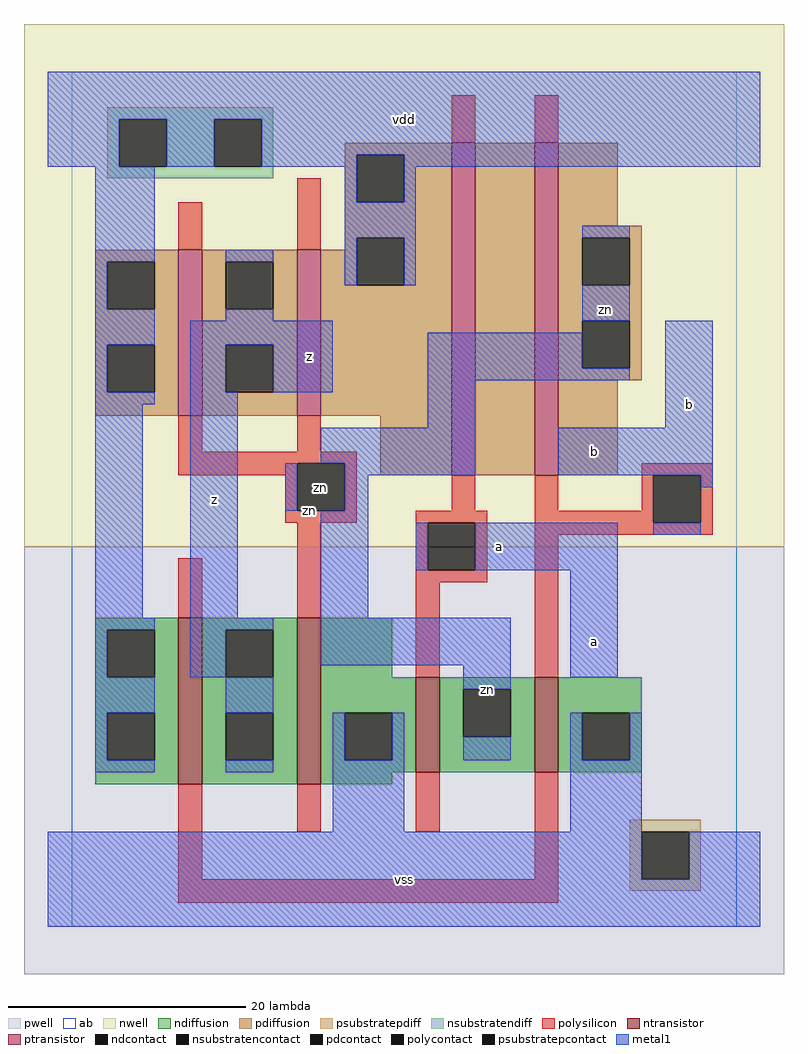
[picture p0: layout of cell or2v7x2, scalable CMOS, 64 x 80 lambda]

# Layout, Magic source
magic
tech scmos
<< ab >>
rect 0 0 56 72
<< pwell >>
rect -4 -4 60 32
<< nwell >>
rect -4 32 60 76
<< polysilicon >>
rect 32 66 34 70
rect 39 66 41 70
rect 9 57 11 61
rect 19 57 21 63
rect 9 40 11 43
rect 19 40 21 43
rect 9 39 24 40
rect 9 38 19 39
rect 18 35 19 38
rect 23 35 24 39
rect 48 38 54 39
rect 32 35 34 38
rect 39 35 41 38
rect 48 35 49 38
rect 18 34 24 35
rect 29 34 35 35
rect 9 26 11 31
rect 19 26 21 34
rect 29 30 30 34
rect 34 30 35 34
rect 29 29 35 30
rect 39 34 49 35
rect 53 34 54 38
rect 39 33 54 34
rect 29 21 31 29
rect 39 21 41 33
rect 9 4 11 12
rect 19 8 21 12
rect 29 8 31 13
rect 39 4 41 13
rect 9 2 41 4
<< ndiffusion >>
rect 2 25 9 26
rect 2 21 3 25
rect 7 21 9 25
rect 2 18 9 21
rect 2 14 3 18
rect 7 14 9 18
rect 2 12 9 14
rect 11 25 19 26
rect 11 21 13 25
rect 17 21 19 25
rect 11 18 19 21
rect 11 14 13 18
rect 17 14 19 18
rect 11 12 19 14
rect 21 21 27 26
rect 21 18 29 21
rect 21 14 23 18
rect 27 14 29 18
rect 21 13 29 14
rect 31 20 39 21
rect 31 16 33 20
rect 37 16 39 20
rect 31 13 39 16
rect 41 18 48 21
rect 41 14 43 18
rect 47 14 48 18
rect 41 13 48 14
rect 21 12 27 13
<< pdiffusion >>
rect 23 65 32 66
rect 23 61 24 65
rect 28 61 32 65
rect 23 58 32 61
rect 23 57 24 58
rect 2 56 9 57
rect 2 52 3 56
rect 7 52 9 56
rect 2 49 9 52
rect 2 45 3 49
rect 7 45 9 49
rect 2 43 9 45
rect 11 56 19 57
rect 11 52 13 56
rect 17 52 19 56
rect 11 49 19 52
rect 11 45 13 49
rect 17 45 19 49
rect 11 43 19 45
rect 21 54 24 57
rect 28 54 32 58
rect 21 43 32 54
rect 26 38 32 43
rect 34 38 39 66
rect 41 59 46 66
rect 41 58 48 59
rect 41 54 43 58
rect 47 54 48 58
rect 41 51 48 54
rect 41 47 43 51
rect 47 47 48 51
rect 41 46 48 47
rect 41 38 46 46
<< metal1 >>
rect -2 68 58 72
rect -2 64 4 68
rect 8 64 12 68
rect 16 65 58 68
rect 16 64 24 65
rect 2 56 7 64
rect 23 61 24 64
rect 28 64 58 65
rect 28 61 29 64
rect 23 58 29 61
rect 2 52 3 56
rect 2 49 7 52
rect 13 56 17 57
rect 23 54 24 58
rect 28 54 29 58
rect 43 58 47 59
rect 13 51 17 52
rect 43 51 47 54
rect 2 45 3 49
rect 2 44 7 45
rect 10 49 22 51
rect 10 45 13 49
rect 17 45 22 49
rect 30 47 43 50
rect 30 46 47 47
rect 2 26 6 44
rect 10 26 14 45
rect 30 42 34 46
rect 50 42 54 51
rect 21 39 34 42
rect 18 35 19 39
rect 23 38 34 39
rect 41 38 54 42
rect 23 35 25 38
rect 21 26 25 35
rect 53 37 54 38
rect 29 30 30 34
rect 34 30 46 34
rect 49 33 53 34
rect 2 25 7 26
rect 2 21 3 25
rect 10 25 17 26
rect 10 21 13 25
rect 21 22 37 26
rect 2 18 7 21
rect 2 14 3 18
rect 2 13 7 14
rect 13 18 17 21
rect 33 20 37 22
rect 42 21 46 30
rect 13 13 17 14
rect 22 14 23 18
rect 27 14 28 18
rect 33 14 37 16
rect 42 14 43 18
rect 47 14 48 18
rect 22 8 28 14
rect 42 8 48 14
rect -2 4 48 8
rect 52 4 58 8
rect -2 0 58 4
<< ntransistor >>
rect 9 12 11 26
rect 19 12 21 26
rect 29 13 31 21
rect 39 13 41 21
<< ptransistor >>
rect 9 43 11 57
rect 19 43 21 57
rect 32 38 34 66
rect 39 38 41 66
<< polycontact >>
rect 19 35 23 39
rect 30 30 34 34
rect 49 34 53 38
<< ndcontact >>
rect 3 21 7 25
rect 3 14 7 18
rect 13 21 17 25
rect 13 14 17 18
rect 23 14 27 18
rect 33 16 37 20
rect 43 14 47 18
<< pdcontact >>
rect 24 61 28 65
rect 3 52 7 56
rect 3 45 7 49
rect 13 52 17 56
rect 13 45 17 49
rect 24 54 28 58
rect 43 54 47 58
rect 43 47 47 51
<< psubstratepcontact >>
rect 48 4 52 8
<< nsubstratencontact >>
rect 4 64 8 68
rect 12 64 16 68
<< psubstratepdiff >>
rect 47 8 53 9
rect 47 4 48 8
rect 52 4 53 8
rect 47 3 53 4
<< nsubstratendiff >>
rect 3 68 17 69
rect 3 64 4 68
rect 8 64 12 68
rect 16 64 17 68
rect 3 63 17 64
<< labels >>
rlabel polysilicon 20 35 20 35 6 zn
rlabel polycontact 21 37 21 37 6 zn
rlabel metal1 12 36 12 36 6 z
rlabel metal1 20 48 20 48 6 z
rlabel metal1 28 4 28 4 6 vss
rlabel metal1 35 20 35 20 6 zn
rlabel metal1 36 32 36 32 6 a
rlabel metal1 28 68 28 68 6 vdd
rlabel metal1 44 24 44 24 6 a
rlabel metal1 44 40 44 40 6 b
rlabel metal1 52 44 52 44 6 b
rlabel metal1 45 52 45 52 6 zn
<< end >>
